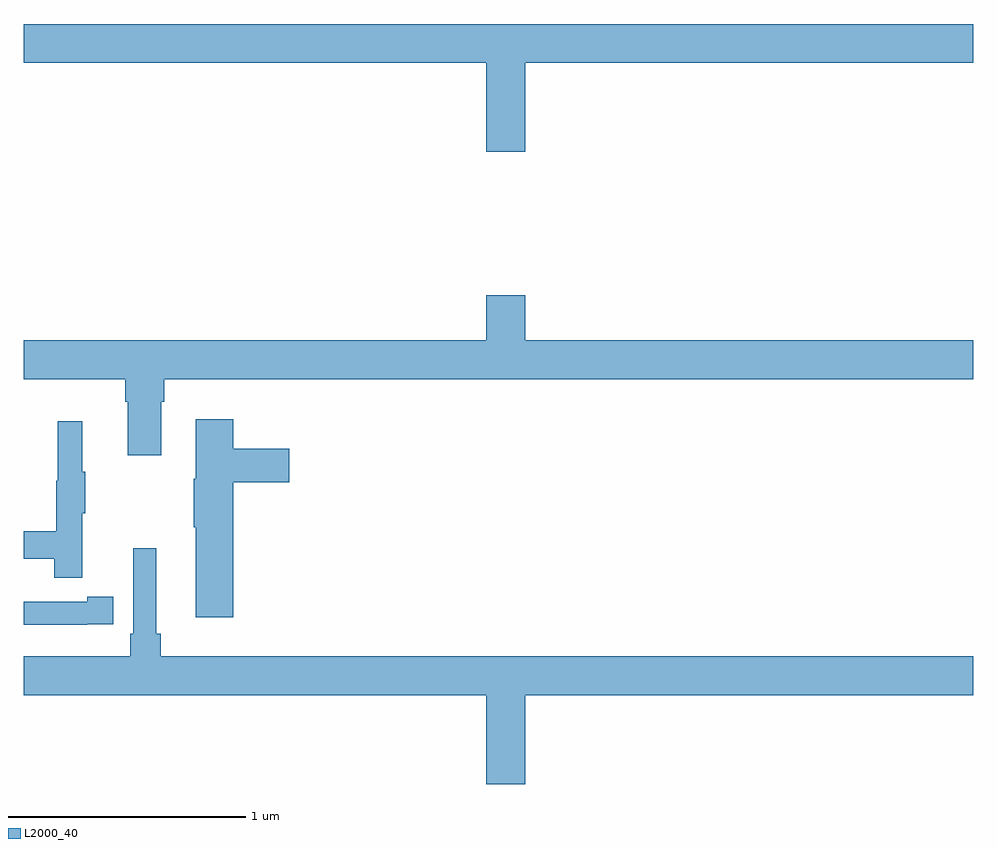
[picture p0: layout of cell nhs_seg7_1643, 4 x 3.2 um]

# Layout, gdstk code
import gdstk
lib = gdstk.Library(unit=1e-6, precision=1e-09)
def P(c, l, *ps):  # polygons
    for p in ps: c.add(gdstk.Polygon(p, *l))
L2000_40 = (2000, 40)

nhs_seg7_1643 = lib.new_cell('nhs_seg7_1643')
P(nhs_seg7_1643, L2000_40, [(225.112,1007.276),(227,1007.276),(227,1007.44),(223,1007.44),(223,1007.276),(224.948,1007.276),(224.948,1006.902),(225.112,1006.902)],
  [(223.579,1005.848),(223.592,1005.848),(223.592,1005.944),(227,1005.944),(227,1006.108),(225.112,1006.108),(225.112,1006.297),(224.948,1006.297),(224.948,1006.108),(223,1006.108),(223,1005.944),(223.427,1005.944),(223.427,1005.848),(223.439,1005.848),(223.439,1005.624),(223.579,1005.624)],
  [(223.883,1005.509),(224.119,1005.509),(224.119,1005.651),(223.883,1005.651),(223.883,1005.775),(223.724,1005.775),(223.724,1005.525),(223.717,1005.525),(223.717,1005.319),(223.724,1005.319),(223.724,1004.94),(223.883,1004.94)],
  [(223.247,1005.379),(223.258,1005.379),(223.258,1005.553),(223.247,1005.553),(223.247,1005.766),(223.144,1005.766),(223.144,1005.516),(223.137,1005.516),(223.137,1005.302),(223,1005.302),(223,1005.186),(223.129,1005.186),(223.129,1005.108),(223.247,1005.108)],
  [(225.112,1004.612),(227,1004.612),(227,1004.776),(223.577,1004.776),(223.577,1004.872),(223.558,1004.872),(223.558,1005.232),(223.461,1005.232),(223.461,1004.872),(223.448,1004.872),(223.448,1004.776),(223,1004.776),(223,1004.612),(224.948,1004.612),(224.948,1004.238),(225.112,1004.238)],
  [(223.268,1004.91),(223.376,1004.91),(223.376,1005.026),(223.268,1005.026),(223.268,1005.006),(223,1005.006),(223,1004.909),(223.268,1004.909)])

lib.write_gds('nhs_seg7_1643.gds')
